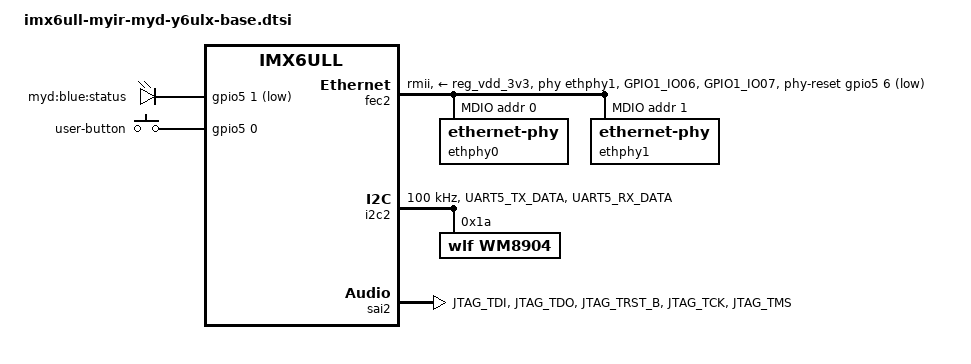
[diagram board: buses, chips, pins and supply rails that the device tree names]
// SPDX-License-Identifier: GPL-2.0
/*
 * Copyright (C) 2022 Yilin Sun
 * Author: Yilin Sun <imi415@imi.moe>
 */

/ {
	chosen {
		stdout-path = &uart1;
	};

	leds {
		compatible = "gpio-leds";
		pinctrl-names = "default";
		pinctrl-0 = <&pinctrl_myd_leds>;

		status {
			label = "myd:blue:status";
			gpios = <&gpio5 1 GPIO_ACTIVE_LOW>;
			linux,default-trigger = "heartbeat";
		};
	};

	gpio-keys {
		compatible = "gpio-keys";
		pinctrl-names = "default";
		pinctrl-0 = <&pinctrl_myd_keys>;

		user {
			label = "user-button";
			gpios = <&gpio5 0 GPIO_ACTIVE_HIGH>;
			linux,code = <KEY_1>;
			debounce-interval = <10>;
			wakeup-source;
		};
	};

	sound-wm8904 {
		compatible = "fsl,imx-audio-wm8904";
		model = "wm8904-audio";
		audio-cpu = <&sai2>;
		audio-codec = <&wm8904>;
		audio-src = <&asrc>;
		audio-routing =
			"Headphone Jack", "HPOUTL",
			"Headphone Jack", "HPOUTR",
			"IN2L", "Line In Jack",
			"IN2R", "Line In Jack",
			"Mic Jack", "MICBIAS",
			"IN1L", "Mic Jack";
	};
};

&clks {
	assigned-clocks = <&clks IMX6UL_CLK_PLL4_AUDIO_DIV>;
	assigned-clock-rates = <786432000>;
};

&fec1 {
	pinctrl-0 = <&pinctrl_enet1>;
	/delete-node/ mdio;
};

&fec2 {
	pinctrl-names = "default";
	pinctrl-0 = <&pinctrl_enet2>, <&pinctrl_enet2_mdio>;
	phy-mode = "rmii";
	phy-handle = <&ethphy1>;
	phy-supply = <&reg_vdd_3v3>;
	phy-reset-gpios = <&gpio5 6 GPIO_ACTIVE_LOW>;
	phy-reset-duration = <26>;
	status = "okay";

	mdio {
		#address-cells = <1>;
		#size-cells = <0>;

		ethphy0: ethernet-phy@0 {
			reg = <0>;
			clocks = <&clks IMX6UL_CLK_ENET_REF>;
			clock-names = "rmii-ref";
		};

		ethphy1: ethernet-phy@1 {
			reg = <1>;
			clocks = <&clks IMX6UL_CLK_ENET2_REF>;
			clock-names = "rmii-ref";
		};
	};
};

&i2c2 {
	clock-frequency = <100000>;
	pinctrl-names = "default";
	pinctrl-0 = <&pinctrl_i2c2>;
	status = "okay";

	wm8904: wm8904@1a {
		compatible = "wlf,wm8904";
		reg = <0x1a>;
		clocks = <&clks IMX6UL_CLK_SAI2>;
		clock-names = "mclk";
	};
};

&sai2 {
	pinctrl-names = "default";
	pinctrl-0 = <&pinctrl_sai2>;
	assigned-clocks = <&clks IMX6UL_CLK_SAI2_SEL>,
			  <&clks IMX6UL_CLK_SAI2>;
	assigned-clock-patents = <&clks IMX6UL_CLK_PLL4_AUDIO_DIV>;
	assigned-clock-rates = <0>, <12288000>;
	fsl,sai-mclk-direction-output;
	status = "okay";
};

&iomuxc {
	pinctrl_i2c2: i2c2grp {
		fsl,pins = <
			MX6UL_PAD_UART5_TX_DATA__I2C2_SCL 0x4001b8b0
			MX6UL_PAD_UART5_RX_DATA__I2C2_SDA 0x4001b8b0
		>;
	};

	pinctrl_enet2_mdio: enet2mdiogrp {
		fsl,pins = <
			MX6UL_PAD_GPIO1_IO06__ENET2_MDIO        0x1b0b0
			MX6UL_PAD_GPIO1_IO07__ENET2_MDC         0x1b0b0
		>;
	};

	pinctrl_myd_leds: mydledgrp {
		fsl,pins = <
			MX6ULL_PAD_SNVS_TAMPER1__GPIO5_IO01	0x1b0b0
		>;
	};

	pinctrl_myd_keys: mydbtngrp {
		fsl,pins = <
			MX6ULL_PAD_SNVS_TAMPER0__GPIO5_IO00	0x1b0b0
		>;
	};

	pinctrl_sai2: sai2grp {
		fsl,pins = <
			MX6UL_PAD_JTAG_TDI__SAI2_TX_BCLK	0x17088
			MX6UL_PAD_JTAG_TDO__SAI2_TX_SYNC	0x17088
			MX6UL_PAD_JTAG_TRST_B__SAI2_TX_DATA	0x11088
			MX6UL_PAD_JTAG_TCK__SAI2_RX_DATA	0x11088
			MX6UL_PAD_JTAG_TMS__SAI2_MCLK		0x17088
		>;
	};
};

